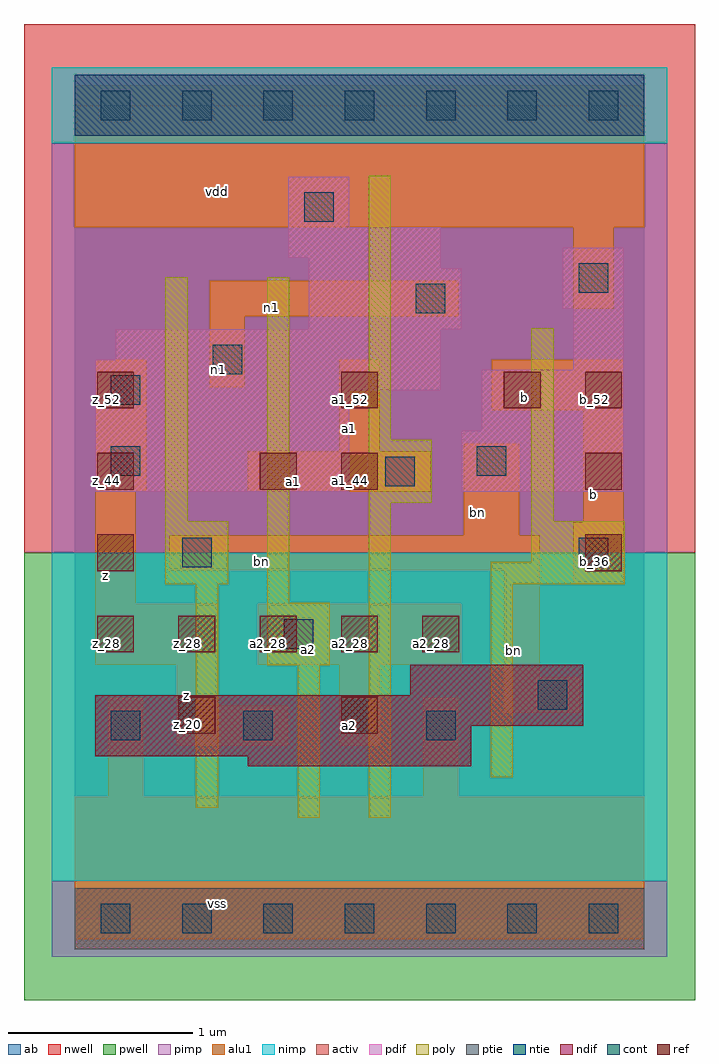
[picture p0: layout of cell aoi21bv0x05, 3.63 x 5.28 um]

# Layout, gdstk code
import gdstk
lib = gdstk.Library(unit=1e-6, precision=2.5e-09)
def R(c, l, rs):  # rectangles x0, y0, x1, y1
    for r in rs: c.add(gdstk.rectangle(r[:2], r[2:], *l))
def A(c, l, x, y, w, h, nx, ny, dx, dy):  # array of equal rectangles
    R(c, l, [(x+i*dx, y+j*dy, x+i*dx+w, y+j*dy+h) for i in range(nx) for j in range(ny)])
ndif = (3, 0)
pdif = (4, 0)
ntie = (5, 0)
ptie = (6, 0)
ref = (24, 0)
cont = (25, 0)
pwell = (41, 0)
nwell = (42, 0)
activ = (43, 0)
pimp = (44, 0)
nimp = (45, 0)
poly = (46, 0)
alu1 = (49, 0)
ab = (63, 0)

aoi21bv0x05 = lib.new_cell('aoi21bv0x05')
R(aoi21bv0x05, ndif, [(0.935,0.825,2.145,0.88), (0.11,0.88,2.145,1.045), (0.11,1.045,2.75,1.21), (1.815,1.21,2.75,1.375)])
R(aoi21bv0x05, pdif, [(0.11,2.31,1.485,2.86), (2.09,2.31,2.97,2.64), (2.2,2.64,2.97,2.97), (0.11,2.86,1.98,3.025), (2.695,2.97,2.97,3.3), (0.22,3.025,1.98,3.19), (1.265,3.19,2.09,3.52), (2.64,3.3,2.97,3.63), (1.265,3.52,1.98,3.575), (1.155,3.575,1.98,3.74), (1.155,3.74,1.485,4.015)])
R(aoi21bv0x05, ntie, [(0,4.235,3.08,4.565)])
R(aoi21bv0x05, ptie, [(0,-0.165,3.08,0.165)])
A(aoi21bv0x05, ref, 0.12, 1.44, 0.2, 0.2, 5, 1, 0.44, 0)
A(aoi21bv0x05, ref, 0.12, 1.88, 0.2, 0.2, 1, 3, 0, 0.44)
A(aoi21bv0x05, ref, 2.76, 1.88, 0.2, 0.2, 1, 3, 0, 0.44)
R(aoi21bv0x05, ref, [(0.56,1,0.76,1.2), (1.44,1,1.64,1.2), (1,2.32,1.2,2.52), (1.44,2.32,1.64,2.52), (1.44,2.76,1.64,2.96), (2.32,2.76,2.52,2.96)])
A(aoi21bv0x05, cont, 0.14, -0.08, 0.16, 0.16, 7, 2, 0.44, 4.4)
R(aoi21bv0x05, cont, [(0.195,0.965,0.355,1.125), (0.91,0.965,1.07,1.125), (1.9,0.965,2.06,1.125), (2.505,1.13,2.665,1.29), (1.13,1.46,1.29,1.62), (0.58,1.9,0.74,2.06), (2.725,1.9,2.885,2.06), (1.68,2.34,1.84,2.5), (0.195,2.395,0.355,2.555), (2.175,2.395,2.335,2.555), (0.195,2.78,0.355,2.94), (0.745,2.945,0.905,3.105), (1.845,3.275,2.005,3.435), (2.725,3.385,2.885,3.545), (1.24,3.77,1.4,3.93)])
R(aoi21bv0x05, pwell, [(-0.275,-0.44,3.355,1.98)])
R(aoi21bv0x05, nwell, [(-0.275,1.98,3.355,4.84)])
R(aoi21bv0x05, activ, [(0,-0.165,3.08,0.165), (0.935,0.825,2.145,0.88), (0.11,0.88,2.145,1.045), (0.11,1.045,2.75,1.21), (1.815,1.21,2.75,1.375), (0.11,2.31,1.485,2.86), (2.09,2.31,2.97,2.64), (2.2,2.64,2.97,2.97), (0.11,2.86,1.98,3.025), (2.695,2.97,2.97,3.3), (0.22,3.025,1.98,3.19), (1.265,3.19,2.09,3.52), (2.64,3.3,2.97,3.63), (1.265,3.52,1.98,3.575), (1.155,3.575,1.98,3.74), (1.155,3.74,1.485,4.015), (0,4.235,3.08,4.565)])
R(aoi21bv0x05, pimp, [(-0.125,-0.205,3.205,0.205), (-0.125,1.98,3.205,4.195)])
R(aoi21bv0x05, nimp, [(-0.125,0.205,3.205,1.98), (-0.125,4.195,3.205,4.605)])
R(aoi21bv0x05, poly, [(1.205,0.545,1.325,1.37), (1.59,0.545,1.71,2.25), (0.655,0.6,0.775,1.81), (2.25,0.765,2.37,1.81), (1.04,1.37,1.38,1.71), (1.04,1.71,1.16,3.47), (0.49,1.81,0.83,2.15), (2.25,1.81,2.975,1.93), (2.47,1.93,2.975,2.15), (0.49,2.15,0.61,3.47), (2.47,2.15,2.59,3.195), (1.59,2.25,1.93,2.59), (1.59,2.59,1.71,4.02)])
R(aoi21bv0x05, alu1, [(0,-0.11,3.08,0.66), (0.18,0.66,0.37,1.195), (1.885,0.66,2.075,1.195), (0.55,0.935,1.155,1.155), (1.43,0.935,1.65,1.375), (2.325,1.115,2.735,1.305), (0.55,1.155,0.77,1.375), (2.325,1.305,2.515,1.885), (0.11,1.375,0.77,1.705), (0.99,1.375,2.09,1.705), (0.11,1.705,0.33,2.31), (2.695,1.815,2.97,2.145), (0.51,1.885,2.515,2.075), (2.105,2.075,2.405,2.57), (2.75,2.145,2.97,2.75), (0.11,2.31,0.385,3.025), (0.935,2.31,1.925,2.53), (1.43,2.53,1.65,3.025), (2.255,2.75,2.97,3.025), (0.73,2.875,0.92,3.26), (0.73,3.26,2.075,3.45), (2.695,3.3,2.915,3.74), (0,3.74,3.08,4.51)])
R(aoi21bv0x05, ab, [(0,0,3.08,4.4)])
aoi21bv0x05.add(gdstk.Label('vss', (0.77,0.0825), layer=49, texttype=0))
aoi21bv0x05.add(gdstk.Label('bn', (2.3725,1.45), layer=49, texttype=0))
aoi21bv0x05.add(gdstk.Label('a2', (1.485,1.045), layer=49, texttype=0))
aoi21bv0x05.add(gdstk.Label('z', (0.605,1.21), layer=49, texttype=0))
aoi21bv0x05.add(gdstk.Label('a2', (1.265,1.4575), layer=49, texttype=0))
aoi21bv0x05.add(gdstk.Label('bn', (1.01,1.9325), layer=49, texttype=0))
aoi21bv0x05.add(gdstk.Label('b', (2.805,2.295), layer=49, texttype=0))
aoi21bv0x05.add(gdstk.Label('bn', (2.18,2.1975), layer=49, texttype=0))
aoi21bv0x05.add(gdstk.Label('z', (0.165,1.855), layer=49, texttype=0))
aoi21bv0x05.add(gdstk.Label('a1', (1.1825,2.365), layer=49, texttype=0))
aoi21bv0x05.add(gdstk.Label('b', (2.4325,2.8175), layer=49, texttype=0))
aoi21bv0x05.add(gdstk.Label('a1', (1.485,2.6525), layer=49, texttype=0))
aoi21bv0x05.add(gdstk.Label('n1', (0.7775,2.97), layer=49, texttype=0))
aoi21bv0x05.add(gdstk.Label('n1', (1.065,3.3075), layer=49, texttype=0))
aoi21bv0x05.add(gdstk.Label('vdd', (0.77,3.9325), layer=49, texttype=0))
aoi21bv0x05.add(gdstk.Label('z_28', (0.61,1.49), layer=24, texttype=0))
aoi21bv0x05.add(gdstk.Label('a2_28', (1.05,1.49), layer=24, texttype=0))
aoi21bv0x05.add(gdstk.Label('a2_28', (1.93,1.49), layer=24, texttype=0))
aoi21bv0x05.add(gdstk.Label('z_52', (0.17,2.81), layer=24, texttype=0))
aoi21bv0x05.add(gdstk.Label('z_44', (0.17,2.37), layer=24, texttype=0))
aoi21bv0x05.add(gdstk.Label('z_36', (0.17,1.93), layer=24, texttype=0))
aoi21bv0x05.add(gdstk.Label('z_28', (0.17,1.49), layer=24, texttype=0))
aoi21bv0x05.add(gdstk.Label('a1_52', (1.49,2.81), layer=24, texttype=0))
aoi21bv0x05.add(gdstk.Label('a2_28', (1.49,1.49), layer=24, texttype=0))
aoi21bv0x05.add(gdstk.Label('a2_20', (1.49,1.05), layer=24, texttype=0))
aoi21bv0x05.add(gdstk.Label('z_20', (0.61,1.05), layer=24, texttype=0))
aoi21bv0x05.add(gdstk.Label('a1_44', (1.05,2.37), layer=24, texttype=0))
aoi21bv0x05.add(gdstk.Label('b_36', (2.81,1.93), layer=24, texttype=0))
aoi21bv0x05.add(gdstk.Label('b_52', (2.37,2.81), layer=24, texttype=0))
aoi21bv0x05.add(gdstk.Label('b_44', (2.81,2.37), layer=24, texttype=0))
aoi21bv0x05.add(gdstk.Label('a1_44', (1.49,2.37), layer=24, texttype=0))
aoi21bv0x05.add(gdstk.Label('b_52', (2.81,2.81), layer=24, texttype=0))

lib.write_gds('aoi21bv0x05.gds')
